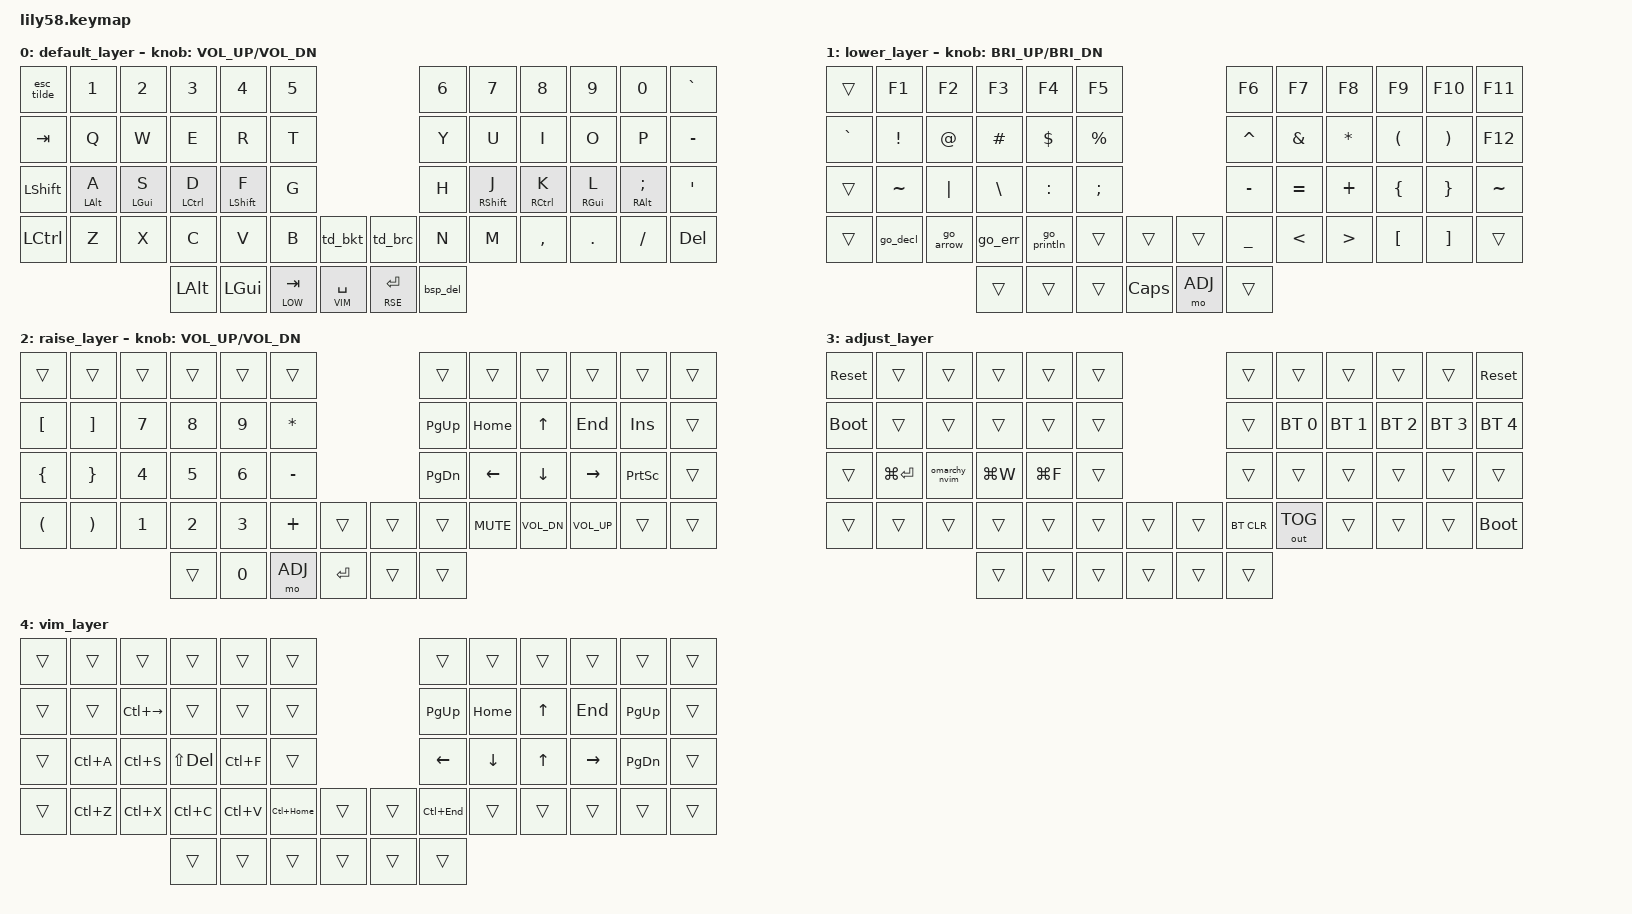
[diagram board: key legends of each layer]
/*
 * Lily58 Pro — оптимизированная раскладка
 * Профиль: Go-разработка, NeoVim, Linux Omarchy (Hyprland)
 *
 * ПЕРЕКЛЮЧЕНИЕ RU/EN:
 *   В ОС переключение назначено на CapsLock.
 *   Используем &kp CAPS — клавиша отправляет CapsLock, ОС переключает язык.
 *   Назначено на: комбо F+J (DEFAULT) и Space в LOWER слое.
 *
 * СЛОИ:
 *   0 - DEFAULT  (QWERTY + Homerow Mods)
 *   1 - LOWER    (Символы, F-клавиши, Go-макросы, RU/EN)
 *   2 - RAISE    (Цифры, навигация)
 *   3 - ADJUST   (Bluetooth, Hyprland shortcuts)
 *   4 - VIM      (Vim-движения через удержание Space)
 *
 * HOMEROW MODS: A=LAlt  S=LSuper  D=LCtrl  F=LShift (зеркально справа)
 */

#include <behaviors.dtsi>
#include <dt-bindings/zmk/bt.h>
#include <dt-bindings/zmk/keys.h>
#include <dt-bindings/zmk/outputs.h>

#define TAPPING_TERM 250
#define QUICK_TAP    150
#define COMBO_TERM    40

#define DEF 0
#define LOW 1
#define RSE 2
#define ADJ 3
#define VIM 4

/ {
    behaviors {

        hm: homerow_mods {
            compatible = "zmk,behavior-hold-tap";
            label = "HOMEROW_MODS";
            #binding-cells = <2>;
            tapping-term-ms = <TAPPING_TERM>;
            quick-tap-ms = <QUICK_TAP>;
            flavor = "balanced";
            bindings = <&kp>, <&kp>;
        };

        lt_tp: layer_tap_thumb {
            compatible = "zmk,behavior-hold-tap";
            label = "LAYER_TAP_THUMB";
            #binding-cells = <2>;
            tapping-term-ms = <180>;
            quick-tap-ms = <QUICK_TAP>;
            flavor = "balanced";
            bindings = <&mo>, <&kp>;
        };

        spc_vim: space_vim {
            compatible = "zmk,behavior-hold-tap";
            label = "SPACE_VIM";
            #binding-cells = <2>;
            tapping-term-ms = <180>;
            quick-tap-ms = <QUICK_TAP>;
            flavor = "balanced";
            bindings = <&mo>, <&kp>;
        };

        /* ESC обычно, Shift+ESC = ~ */
        esc_tilde: esc_tilde {
            compatible = "zmk,behavior-mod-morph";
            label = "ESC_TILDE";
            #binding-cells = <0>;
            bindings = <&kp ESC>, <&kp TILDE>;
            mods = <(MOD_LSFT|MOD_RSFT)>;
        };

        /* Backspace обычно, Shift+Backspace = Delete */
        bsp_del: bsp_del {
            compatible = "zmk,behavior-mod-morph";
            label = "BSP_DEL";
            #binding-cells = <0>;
            bindings = <&kp BACKSPACE>, <&kp DELETE>;
            mods = <(MOD_LSFT|MOD_RSFT)>;
        };

        /* Tap-Dance: одно нажатие = [  двойное = ] */
        td_bkt: tap_dance_brackets {
            compatible = "zmk,behavior-tap-dance";
            label = "TD_BRACKETS";
            #binding-cells = <0>;
            tapping-term-ms = <200>;
            bindings = <&kp LBKT>, <&kp RBKT>;
        };

        /* Tap-Dance: одно нажатие = {  двойное = } */
        td_brc: tap_dance_braces {
            compatible = "zmk,behavior-tap-dance";
            label = "TD_BRACES";
            #binding-cells = <0>;
            tapping-term-ms = <200>;
            bindings = <&kp LBRC>, <&kp RBRC>;
        };

        /* Caps Word — умный CapsLock для SCREAMING_SNAKE_CASE */
        caps_word: caps_word {
            compatible = "zmk,behavior-caps-word";
            label = "CAPS_WORD";
            #binding-cells = <0>;
            continue-list = <UNDERSCORE MINUS BACKSPACE>;
        };
    };

    macros {

        /* Go: := */
        go_decl: go_decl {
            label = "GO_DECL";
            compatible = "zmk,behavior-macro";
            #binding-cells = <0>;
            bindings = <&kp COLON &kp EQUAL>;
        };

        /* Go: -> */
        go_arrow: go_arrow {
            label = "GO_ARROW";
            compatible = "zmk,behavior-macro";
            #binding-cells = <0>;
            bindings = <&kp MINUS &kp GT>;
        };

        /* Go: if err != nil { */
        go_err: go_err {
            label = "GO_ERR";
            compatible = "zmk,behavior-macro";
            #binding-cells = <0>;
            bindings =
                <&kp I &kp F &kp SPACE
                 &kp E &kp R &kp R &kp SPACE
                 &kp EXCL &kp EQUAL &kp SPACE
                 &kp N &kp I &kp L &kp SPACE
                 &kp LBRC &kp ENTER>;
        };

        /* Go: fmt.Println( */
        go_println: go_println {
            label = "GO_PRINTLN";
            compatible = "zmk,behavior-macro";
            #binding-cells = <0>;
            bindings =
                <&kp F &kp M &kp T &kp DOT
                 &kp P &kp R &kp I &kp N &kp T &kp L &kp N
                 &kp LPAR>;
        };

        /* Omarchy: Super+Shift+N = открыть Neovim */
        omarchy_nvim: omarchy_nvim {
            label = "OMARCHY_NVIM";
            compatible = "zmk,behavior-macro";
            #binding-cells = <0>;
            bindings = <&kp LG(LS(N))>;
        };
    };

    combos {
        compatible = "zmk,combos";

        /* J+K → ESC (NeoVim: выход из Insert Mode) */
        combo_esc {
            timeout-ms = <COMBO_TERM>;
            key-positions = <31 32>;
            bindings = <&kp ESC>;
            layers = <DEF>;
        };

        /* F+J → CapsLock (переключение языка RU/EN) */
        combo_lang {
            timeout-ms = <COMBO_TERM>;
            key-positions = <28 31>;
            bindings = <&kp CAPS>;
            layers = <DEF>;
        };

        /* S+D → Caps Word (SCREAMING_SNAKE_CASE для Go-констант) */
        combo_caps_word {
            timeout-ms = <COMBO_TERM>;
            key-positions = <26 27>;
            bindings = <&caps_word>;
            layers = <DEF>;
        };

        /* N+M → _ (underscore — часто в Go) */
        combo_under {
            timeout-ms = <COMBO_TERM>;
            key-positions = <39 40>;
            bindings = <&kp UNDERSCORE>;
            layers = <DEF>;
        };

        /* ;+' → \ (backslash — пути, regex, vim) */
        combo_bslh {
            timeout-ms = <COMBO_TERM>;
            key-positions = <35 36>;
            bindings = <&kp BSLH>;
            layers = <DEF>;
        };

        /* Z+X → Ctrl+Z (undo) */
        combo_undo {
            timeout-ms = <COMBO_TERM>;
            key-positions = <22 23>;
            bindings = <&kp LC(Z)>;
            layers = <DEF>;
        };
    };

    keymap {
        compatible = "zmk,keymap";

        /* ----------------------------------------------------------
         * СЛОЙ 0: DEFAULT
         * Homerow: A=LAlt  S=LSuper  D=LCtrl  F=LShift (зеркально)
         * Thumb:   Alt | Win | LOW/Tab   Space/VIM | RSE/Enter | Bsp
         * ---------------------------------------------------------- */
        default_layer {
            bindings = <
&esc_tilde  &kp N1        &kp N2       &kp N3        &kp N4        &kp N5                              &kp N6  &kp N7        &kp N8        &kp N9       &kp N0         &kp GRAVE
&kp TAB     &kp Q         &kp W        &kp E         &kp R         &kp T                               &kp Y   &kp U         &kp I         &kp O        &kp P          &kp MINUS
&kp LSHIFT  &hm LALT A    &hm LGUI S   &hm LCTRL D   &hm LSHIFT F  &kp G                               &kp H   &hm RSHIFT J  &hm RCTRL K   &hm RGUI L   &hm RALT SEMI  &kp SQT
&kp LCTRL   &kp Z         &kp X        &kp C         &kp V         &kp B    &td_bkt      &td_brc        &kp N   &kp M         &kp COMMA     &kp DOT      &kp FSLH       &kp DEL
                                        &kp LALT      &kp LGUI      &lt_tp LOW TAB  &spc_vim VIM SPACE  &lt_tp RSE RET  &bsp_del
            >;
            sensor-bindings = <&inc_dec_kp C_VOL_UP C_VOL_DN>;
        };

        /* ----------------------------------------------------------
         * СЛОЙ 1: LOWER
         * Символы, F-клавиши, Go-макросы
         * Space (thumb) = CapsLock = переключение языка RU/EN
         * ---------------------------------------------------------- */
        lower_layer {
            bindings = <
&trans      &kp F1        &kp F2       &kp F3        &kp F4        &kp F5                              &kp F6    &kp F7     &kp F8     &kp F9    &kp F10   &kp F11
&kp GRAVE   &kp EXCL      &kp AT       &kp HASH      &kp DOLLAR    &kp PRCNT                           &kp CARET &kp AMPS   &kp ASTRK  &kp LPAR  &kp RPAR  &kp F12
&trans      &kp TILDE     &kp PIPE     &kp BSLH      &kp COLON     &kp SEMI                            &kp MINUS &kp EQUAL  &kp PLUS   &kp LBRC  &kp RBRC  &kp TILDE
&trans      &go_decl      &go_arrow    &go_err       &go_println   &trans    &trans       &trans        &kp UNDER &kp LT     &kp GT     &kp LBKT  &kp RBKT  &trans
                                        &trans        &trans        &trans    &kp CAPS     &mo ADJ      &trans
            >;
            sensor-bindings = <&inc_dec_kp C_BRI_UP C_BRI_DN>;
        };

        /* ----------------------------------------------------------
         * СЛОЙ 2: RAISE
         * Цифровой блок (левая рука), навигация (правая рука)
         * ---------------------------------------------------------- */
        raise_layer {
            bindings = <
&trans      &trans        &trans       &trans        &trans        &trans                              &trans     &trans      &trans     &trans         &trans      &trans
&kp LBKT    &kp RBKT      &kp N7       &kp N8        &kp N9        &kp ASTRK                           &kp PG_UP  &kp HOME    &kp UP     &kp END        &kp INS     &trans
&kp LBRC    &kp RBRC      &kp N4       &kp N5        &kp N6        &kp MINUS                           &kp PG_DN  &kp LEFT    &kp DOWN   &kp RIGHT      &kp PSCRN   &trans
&kp LPAR    &kp RPAR      &kp N1       &kp N2        &kp N3        &kp PLUS  &trans       &trans       &trans     &kp C_MUTE  &kp C_VOL_DN  &kp C_VOL_UP  &trans   &trans
                                        &trans        &kp N0        &mo ADJ   &kp RET      &trans      &trans
            >;
            sensor-bindings = <&inc_dec_kp C_VOL_UP C_VOL_DN>;
        };

        /* ----------------------------------------------------------
         * СЛОЙ 3: ADJUST
         * Активация: LOW + RSE одновременно
         * Bluetooth, прошивка, Omarchy-шорткаты
         * ---------------------------------------------------------- */
        adjust_layer {
            bindings = <
&sys_reset  &trans        &trans       &trans        &trans        &trans                               &trans      &trans          &trans          &trans          &trans          &sys_reset
&bootloader &trans        &trans       &trans        &trans        &trans                               &trans      &bt BT_SEL 0    &bt BT_SEL 1    &bt BT_SEL 2    &bt BT_SEL 3    &bt BT_SEL 4
&trans      &kp LG(RET)   &omarchy_nvim &kp LG(W)   &kp LG(F)    &trans                               &trans      &trans          &trans          &trans          &trans          &trans
&trans      &trans        &trans       &trans        &trans        &trans    &trans       &trans        &bt BT_CLR  &out OUT_TOG    &trans          &trans          &trans          &bootloader
                                        &trans        &trans        &trans    &trans       &trans       &trans
            >;
        };

        /* ----------------------------------------------------------
         * СЛОЙ 4: VIM
         * Активация: удержание Space
         * Правая рука — движение (hjkl + word + page)
         * Левая рука  — операции (undo/cut/copy/paste/save/find)
         * ---------------------------------------------------------- */
        vim_layer {
            bindings = <
&trans      &trans        &trans          &trans          &trans          &trans                          &trans         &trans          &trans      &trans          &trans      &trans
&trans      &trans        &kp LC(RIGHT)   &trans          &trans          &trans                          &kp PG_UP      &kp HOME        &kp UP      &kp END         &kp PG_UP   &trans
&trans      &kp LC(A)     &kp LC(S)       &kp LS(DEL)     &kp LC(F)       &trans                          &kp LEFT       &kp DOWN        &kp UP      &kp RIGHT       &kp PG_DN   &trans
&trans      &kp LC(Z)     &kp LC(X)       &kp LC(C)       &kp LC(V)       &kp LC(HOME)  &trans  &trans    &kp LC(END)    &trans          &trans      &trans          &trans      &trans
                                           &trans          &trans          &trans        &trans  &trans   &trans
            >;
        };
    };
};
